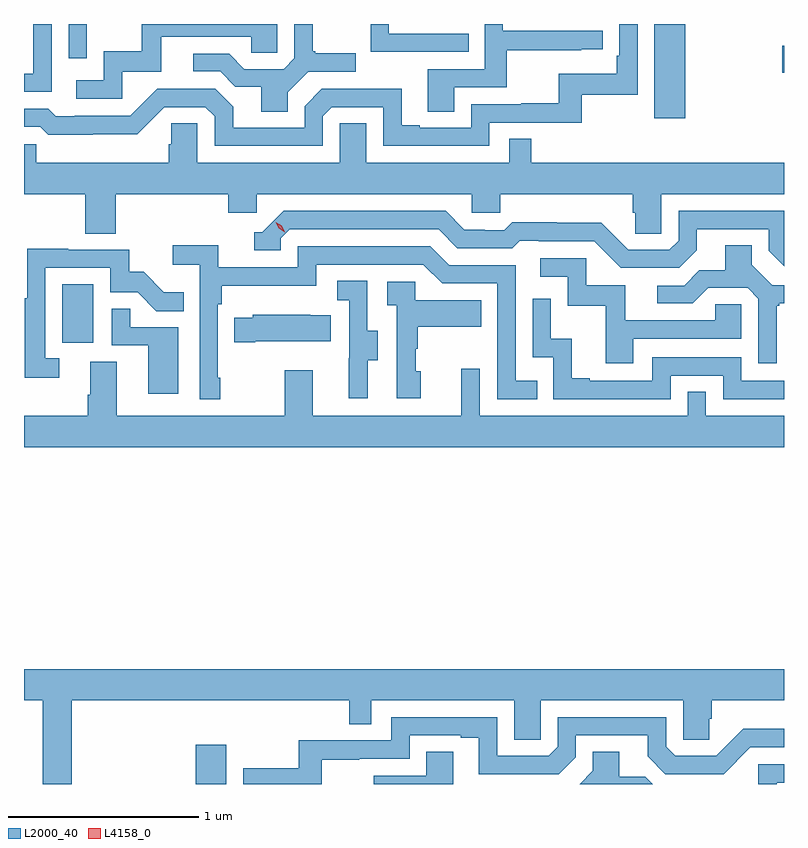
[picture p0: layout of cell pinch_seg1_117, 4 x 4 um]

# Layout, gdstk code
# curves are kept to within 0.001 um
import gdstk
lib = gdstk.Library(unit=1e-6, precision=1e-09)
def R(c, l, rs):  # rectangles x0, y0, x1, y1
    for r in rs: c.add(gdstk.rectangle(r[:2], r[2:], *l))
def P(c, l, *ps):  # polygons
    for p in ps: c.add(gdstk.Polygon(p, *l))
L2000_40 = (2000, 40)
L4158_0 = (4158, 0)

pinch_seg1_117 = lib.new_cell('pinch_seg1_117')
R(pinch_seg1_117, L2000_40, [(1056.242,540.635,1056.403,540.841), (1055.54,542.958,1055.704,543.265), (1058.657,544.14,1058.818,544.635), (1059.33,544.378,1059.339,544.52), (1055.574,544.455,1055.67,544.635)])
P(pinch_seg1_117, L2000_40, [(1056.727,544.276),(1056.834,544.383),(1057.084,544.383),(1057.084,544.48),(1056.871,544.48),(1056.871,544.492),(1056.859,544.492),(1056.859,544.635),(1056.762,544.635),(1056.762,544.455),(1056.705,544.398),(1056.499,544.398),(1056.418,544.479),(1056.231,544.479),(1056.231,544.386),(1056.372,544.386),(1056.452,544.306),(1056.587,544.306),(1056.587,544.174),(1056.727,544.174)],
  [(1056.912,544.149),(1056.96,544.197),(1057.23,544.197),(1057.23,543.993),(1057.788,543.993),(1057.788,544.116),(1058.275,544.116),(1058.275,544.263),(1058.568,544.263),(1058.568,544.635),(1058.472,544.635),(1058.472,544.468),(1058.459,544.468),(1058.459,544.372),(1058.154,544.372),(1058.154,544.217),(1057.957,544.217),(1057.957,544.212),(1057.692,544.212),(1057.692,544.089),(1057.423,544.089),(1057.423,544.102),(1057.327,544.102),(1057.327,544.295),(1057.122,544.295),(1057.122,544.293),(1056.906,544.293),(1056.816,544.203),(1056.816,544.089),(1056.439,544.089),(1056.439,544.199),(1056.345,544.293),(1056.039,544.293),(1055.898,544.152),(1055.605,544.152),(1055.605,544.149),(1055.506,544.149),(1055.467,544.188),(1055.339,544.188),(1055.339,544.095),(1055.425,544.095),(1055.467,544.053),(1055.7,544.053),(1055.7,544.055),(1055.936,544.055),(1056.078,544.197),(1056.294,544.197),(1056.342,544.149),(1056.342,543.993),(1056.912,543.993)],
  [(1055.856,544.383),(1056.061,544.383),(1056.061,544.569),(1056.535,544.569),(1056.535,544.485),(1056.672,544.485),(1056.672,544.635),(1055.959,544.635),(1055.959,544.492),(1055.76,544.492),(1055.76,544.338),(1055.613,544.338),(1055.613,544.242),(1055.856,544.242)],
  [(1057.603,544.302),(1057.88,544.302),(1057.88,544.498),(1058.273,544.498),(1058.273,544.503),(1058.386,544.503),(1058.386,544.599),(1057.86,544.599),(1057.86,544.635),(1057.764,544.635),(1057.764,544.398),(1057.463,544.398),(1057.463,544.174),(1057.603,544.174)],
  [(1055.484,544.635),(1055.388,544.635),(1055.388,544.374),(1055.339,544.374),(1055.339,544.278),(1055.484,544.278)],
  [(1057.679,544.584),(1057.26,544.584),(1057.26,544.635),(1057.164,544.635),(1057.164,544.488),(1057.679,544.488)],
  [(1055.822,543.74),(1056.413,543.74),(1056.413,543.642),(1056.564,543.642),(1056.564,543.74),(1057.695,543.74),(1057.695,543.642),(1057.845,543.642),(1057.845,543.74),(1058.543,543.74),(1058.543,543.642),(1058.557,543.642),(1058.557,543.532),(1058.694,543.532),(1058.694,543.74),(1059.339,543.74),(1059.339,543.904),(1058.009,543.904),(1058.009,544.031),(1057.893,544.031),(1057.893,543.904),(1057.141,543.904),(1057.141,544.112),(1057.002,544.112),(1057.002,543.904),(1056.252,543.904),(1056.252,544.112),(1056.115,544.112),(1056.115,544.002),(1056.101,544.002),(1056.101,543.904),(1055.403,543.904),(1055.403,544.002),(1055.339,544.002),(1055.339,543.74),(1055.662,543.74),(1055.662,543.532),(1055.822,543.532)],
  [(1058.881,543.445),(1058.881,543.555),(1059.258,543.555),(1059.258,543.441),(1059.339,543.36),(1059.339,543.651),(1058.784,543.651),(1058.784,543.495),(1058.736,543.447),(1058.52,543.447),(1058.378,543.589),(1058.142,543.589),(1058.142,543.592),(1057.909,543.592),(1057.867,543.549),(1057.764,543.549),(1057.764,543.552),(1057.657,543.552),(1057.558,543.651),(1056.705,543.651),(1056.594,543.54),(1056.551,543.54),(1056.551,543.444),(1056.69,543.444),(1056.69,543.507),(1056.738,543.555),(1057.521,543.555),(1057.62,543.456),(1057.909,543.456),(1057.948,543.495),(1058.047,543.495),(1058.047,543.492),(1058.34,543.492),(1058.481,543.351),(1058.787,543.351)],
  [(1056.373,542.773),(1056.36,542.773),(1056.36,543.161),(1056.38,543.161),(1056.38,543.257),(1056.876,543.257),(1056.876,543.369),(1057.44,543.369),(1057.539,543.27),(1057.83,543.27),(1057.83,542.661),(1058.039,542.661),(1058.039,542.757),(1057.926,542.757),(1057.926,543.366),(1057.576,543.366),(1057.477,543.465),(1056.78,543.465),(1056.78,543.354),(1056.362,543.354),(1056.362,543.47),(1056.123,543.47),(1056.123,543.368),(1056.264,543.368),(1056.264,542.661),(1056.373,542.661)],
  [(1059.301,543.153),(1059.313,543.153),(1059.313,543.164),(1059.339,543.164),(1059.339,543.261),(1059.276,543.261),(1059.169,543.368),(1059.169,543.47),(1059.029,543.47),(1059.029,543.338),(1058.894,543.338),(1058.814,543.258),(1058.673,543.258),(1058.673,543.165),(1058.86,543.165),(1058.941,543.246),(1059.147,543.246),(1059.204,543.189),(1059.204,542.85),(1059.301,542.85)],
  [(1055.524,542.877),(1055.451,542.877),(1055.451,543.351),(1055.793,543.351),(1055.793,543.222),(1055.937,543.222),(1056.035,543.124),(1056.179,543.124),(1056.179,543.223),(1056.075,543.223),(1055.968,543.33),(1055.892,543.33),(1055.892,543.447),(1055.573,543.447),(1055.573,543.452),(1055.355,543.452),(1055.355,543.191),(1055.343,543.191),(1055.343,542.772),(1055.524,542.772)],
  [(1058.545,542.979),(1059.114,542.979),(1059.114,543.159),(1058.977,543.159),(1058.977,543.075),(1058.503,543.075),(1058.503,543.261),(1058.298,543.261),(1058.298,543.402),(1058.055,543.402),(1058.055,543.306),(1058.202,543.306),(1058.202,543.153),(1058.401,543.153),(1058.401,542.85),(1058.545,542.85)],
  [(1057.147,542.866),(1057.201,542.866),(1057.201,543.021),(1057.146,543.021),(1057.146,543.284),(1056.987,543.284),(1056.987,543.181),(1057.05,543.181),(1057.05,542.877),(1057.049,542.877),(1057.049,542.664),(1057.147,542.664)],
  [(1057.426,542.808),(1057.401,542.808),(1057.401,542.927),(1057.411,542.927),(1057.411,543.041),(1057.745,543.041),(1057.745,543.181),(1057.398,543.181),(1057.398,543.279),(1057.251,543.279),(1057.251,543.155),(1057.302,543.155),(1057.302,542.664),(1057.426,542.664)],
  [(1058.742,542.784),(1059.018,542.784),(1059.018,542.661),(1059.339,542.661),(1059.339,542.757),(1059.114,542.757),(1059.114,542.88),(1058.646,542.88),(1058.646,542.757),(1058.317,542.757),(1058.317,542.77),(1058.222,542.77),(1058.222,542.978),(1058.112,542.978),(1058.112,543.19),(1058.016,543.19),(1058.016,542.88),(1058.124,542.88),(1058.124,542.661),(1058.742,542.661)],
  [(1056.151,543.039),(1055.897,543.039),(1055.897,543.137),(1055.802,543.137),(1055.802,542.943),(1055.993,542.943),(1055.993,542.688),(1056.151,542.688)],
  [(1056.556,542.966),(1056.953,542.966),(1056.953,543.103),(1056.845,543.103),(1056.845,543.106),(1056.543,543.106),(1056.543,543.088),(1056.445,543.088),(1056.445,542.959),(1056.556,542.959)],
  [(1059.339,542.572),(1058.928,542.572),(1058.928,542.699),(1058.832,542.699),(1058.832,542.572),(1057.737,542.572),(1057.737,542.821),(1057.64,542.821),(1057.64,542.572),(1056.859,542.572),(1056.859,542.812),(1056.712,542.812),(1056.712,542.572),(1055.827,542.572),(1055.827,542.858),(1055.687,542.858),(1055.687,542.684),(1055.675,542.684),(1055.675,542.572),(1055.339,542.572),(1055.339,542.408),(1059.339,542.408)],
  [(1055.591,541.076),(1057.051,541.076),(1057.051,540.949),(1057.167,540.949),(1057.167,541.076),(1057.919,541.076),(1057.919,540.868),(1058.058,540.868),(1058.058,541.076),(1058.808,541.076),(1058.808,540.868),(1058.945,540.868),(1058.945,540.978),(1058.96,540.978),(1058.96,541.076),(1059.339,541.076),(1059.339,541.24),(1055.339,541.24),(1055.339,541.076),(1055.438,541.076),(1055.438,540.635),(1055.591,540.635)],
  [(1056.907,540.763),(1057.103,540.763),(1057.103,540.768),(1057.368,540.768),(1057.368,540.891),(1057.637,540.891),(1057.637,540.879),(1057.733,540.879),(1057.733,540.686),(1058.154,540.687),(1058.244,540.777),(1058.244,540.891),(1058.621,540.891),(1058.621,540.781),(1058.715,540.687),(1059.021,540.687),(1059.162,540.828),(1059.339,540.828),(1059.339,540.925),(1059.124,540.925),(1058.982,540.783),(1058.766,540.783),(1058.718,540.831),(1058.718,540.987),(1058.148,540.987),(1058.148,540.831),(1058.1,540.783),(1057.83,540.783),(1057.83,540.987),(1057.272,540.987),(1057.272,540.864),(1056.786,540.864),(1056.786,540.718),(1056.492,540.718),(1056.492,540.635),(1056.907,540.635)],
  [(1058.608,540.674),(1058.473,540.674),(1058.473,540.806),(1058.333,540.806),(1058.333,540.704),(1058.264,540.635),(1058.647,540.635)],
  [(1057.597,540.806),(1057.457,540.806),(1057.457,540.678),(1057.18,540.678),(1057.18,540.635),(1057.597,540.635)],
  [(1059.3,540.642),(1059.339,540.642),(1059.339,540.738),(1059.204,540.738),(1059.204,540.635),(1059.3,540.635)])
P(pinch_seg1_117, L4158_0, [(1056.712,543.539),(1056.681,543.559),(1056.665,543.591),(1056.665,543.591),(1056.665,543.591),(1056.696,543.572),(1056.712,543.54),(1056.712,543.539)])

lib.write_gds('pinch_seg1_117.gds')
